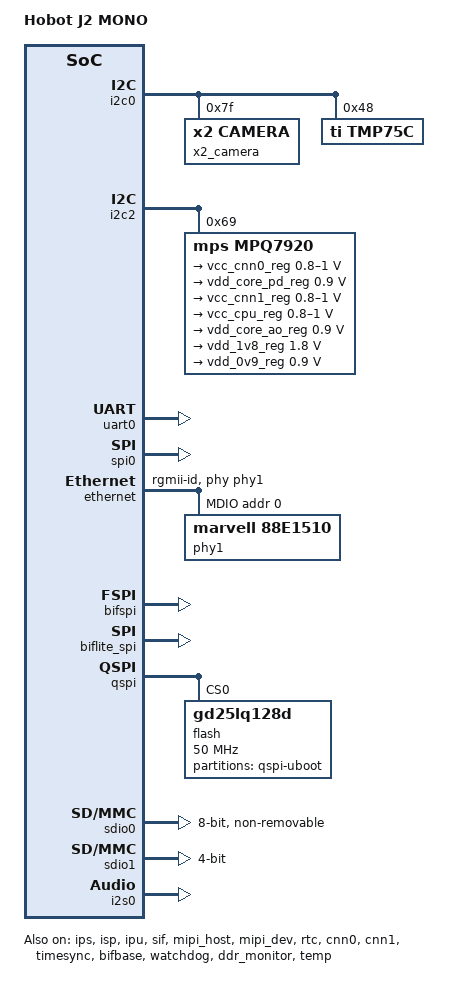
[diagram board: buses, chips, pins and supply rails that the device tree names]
/*
 * dts file for Hobot X2 FPGA
 *
 * (C) Copyright 2018, Horizon, Inc.
 *
 *
 * This program is free software; you can redistribute it and/or
 * modify it under the terms of the GNU General Public License as
 * published by the Free Software Foundation; either version 2 of
 * the License, or (at your option) any later version.
 */

/dts-v1/;
#include "hobot.dtsi"
#include "hobot-pinctrl.dtsi"
#include "hobot-clk.dtsi"
#include "memory-2g.dtsi"
#include <dt-bindings/gpio/gpio.h>
#include <dt-bindings/phy/phy.h>

/ {
	model = "Hobot J2 MONO";
	compatible = "hobot,x2-fpga";

	aliases {
		serial0 = &uart0;
		serial1 = &uart1;
		serial2 = &uart2;
		serial3 = &uart3;
		i2c0	= &i2c0;
		i2c1	= &i2c1;
		i2c2	= &i2c2;
		i2c3	= &i2c3;
		i2s0	= &i2s0;
		i2s1	= &i2s1;
		pwm0	= &pwm_0;
		pwm1	= &pwm_1;
		pwm2	= &pwm_2;
		bifsd	= &bifsd;
		bifspi	= &bifspi;
		mmc1	= &sdio0;
		mmc2	= &sdio1;
	};

	chosen {
		bootargs = "earlycon loglevel=8 console=ttyS0 clk_ignore_unused";
		stdout-path = "serial0:115200n8";
	};

};

&i2c0 {
	status = "okay";
	#address-cells = <1>;
	#size-cells = <0>;
	x2_camera@0x7f {
	    compatible = "x2,camera";
	    reg = <0x7f>;
	};
	tmp75c@48 {
                compatible = "ti,tmp75c";
		reg = <0x48>;
	};
};

&i2c2 {
	status = "okay";
	#address-cells = <1>;
	#size-cells = <0>;
	pinctrl-names = "default";
	pinctrl-0 = <&i2c2_func>;

		mpq7920@69 {
		compatible = "mps,mpq7920";
		reg = <0x69>;
		regulators {
			vcc_cnn0_reg: DCDC1 {
				regulator-name = "VCC_CNN0";
				regulator-min-microvolt = <800000>;
				regulator-max-microvolt = <1000000>;
				regulator-always-on;
				regulator-boot-on;
			};

			vdd_core_pd_reg: DCDC2 {
				regulator-name = "VDD_CORE_PD";
				regulator-min-microvolt = <900000>;
				regulator-max-microvolt = <900000>;
				regulator-always-on;
				regulator-boot-on;
			};

			vcc_cnn1_reg: DCDC3 {
				regulator-name = "VCC_CNN1";
				regulator-min-microvolt = <800000>;
				regulator-max-microvolt = <1000000>;
				regulator-always-on;
				regulator-boot-on;
			};

			vcc_cpu_reg: DCDC4 {
				regulator-name = "VCC_CPU";
				regulator-min-microvolt = <800000>;
				regulator-max-microvolt = <1000000>;
				regulator-always-on;
				regulator-boot-on;
			};

			vdd_core_ao_reg: LDO3 {
				regulator-name = "VDD_CORE_AO";
				regulator-min-microvolt = <900000>;
				regulator-max-microvolt = <900000>;
				regulator-always-on;
				regulator-boot-on;
			};

			vdd_1v8_reg: LDO4 {
				regulator-name = "VDD_1V8";
				regulator-min-microvolt = <1800000>;
				regulator-max-microvolt = <1800000>;
				regulator-always-on;
			};

			vdd_0v9_reg: LDO5 {
				regulator-name = "VDD_0V9";
				regulator-min-microvolt = <900000>;
				regulator-max-microvolt = <900000>;
				regulator-always-on;
			};
		};
	};




};

&pinctrl {
	status = "okay";
	gpioirq-bank-cfg=<18 0 0 0>;
};

&uart0 {
	status = "okay";
	clocks = <&uart0_mclk>;
	clock-names = "uart_mclk";
};

&ips {
	pinctrl-names = "bt_func", "dvp_func";
	pinctrl-0 = <&btin_func &btout_func>;
	pinctrl-1 = <&dvpin_func &dvpout_func>;
	status = "okay";
};

&isp {
	status = "okay";
};

&ipu {
	status = "okay";
};

&sif {
	status = "okay";
};
&mipi_host {
	status = "okay";
};

&mipi_dev {
	status = "okay";
};

&dma {
	status = "okay";
};

&x2dmatest {
	status = "disabled";
};

&rtc {
	status = "okay";
};

&pwm_0 {
	status = "disabled";
};

&spi0 {
	status = "okay";
};

&ethernet {
	status = "okay";
	clocks = <&eth0_ephy_2nddiv_clk>, <&eth0_prediv_clk>, <&eth0_div_clk>;
	clock-names = "phy_ref_clk", "mac_pre_div_clk", "mac_div_clk";

	pinctrl-names = "default";
	pinctrl-0 = <&eth_func>;

	/* local-mac-address = [ 00 11 22 33 44 55 ]; */
	phy-handle = <&phy1>;
	phy-mode = "rgmii-id";
	mdio {
		#address-cells = <0x1>;
		#size-cells = <0x0>;
		phy1: phy@0 {
			compatible = "marvell,88E1510","ethernet-phy-ieee802.3-c22";
			reg = <0x0>;
		};
	};
};

&cpu0 {
	status = "okay";
	cpu-supply = <&vcc_cpu_reg>;
};
&cpu1 {
	status = "okay";
	cpu-supply = <&vcc_cpu_reg>;
};

&cnn0 {
	status = "okay";
	cnn0-supply = <&vcc_cnn0_reg>;
};

&cnn1 {
	status = "okay";
	cnn1-supply = <&vcc_cnn1_reg>;
};

&iar {
	status = "disabled";
};

&bifspi {
	status = "okay";
};

&bifsd {
	status = "disabled";
	/*cd-gpio = <91>;*/


};
&timesync {
	status = "okay";
	timesync_MCU2J2_irq_pin = <18>;
	timesync_J22MCU_irq_pin = <118>;
};
&bifbase {
	/*x2j2 bifbase: GPIO7[8]: 18, GPIO0[7]: 7*/
	status = "okay";
//	bifbase_irq_pin = <18>;
//	bifbase_tri_pin = <7>;
};
&biflite_spi {
	status = "okay";
	mcu-ap;
	polling-mode;
};
&qspi {
	status = "okay";
	qspi-mode = <1>;
	#address-cells = <1>;
	#size-cells = <0>;
	clocks = <&sys_qspi_aclk>;
	clock-names = "qspi_aclk";

	flash@0 {
		compatible = "gd25lq128d";
		#address-cells = <1>;
		#size-cells = <1>;
		reg = <0x0>;
		spi-tx-bus-width = <4>;
		spi-rx-bus-width = <4>;
		spi-max-frequency = <50000000>;

		partition@qspi-uboot {
			label = "qspi-uboot";
			reg = <0x200000 0x200000>;
		};
	};
};

&sdio0 {
	status = "okay";
	bus-width = <8>;
	cap-mmc-highspeed;
	mmc-hs200-1_8v;
	non-removable;
	disable-wp;
};

&sdio1 {
	status = "okay";
	bus-width = <4>;
	//no-mmc;
	//no-sdio;
	cap-mmc-highspeed;
	cap-sd-highspeed;
	//sd-uhs-sdr12;
	//sd-uhs-sdr25;
	//sd-uhs-sdr50;
	//sd-uhs-sdr104;
	//powerup-gpio = <85>;
	//uhs-180v-gpio = <86>;
	//non-removable;
	mmc-hs200-1_8v;
	broken-cd;
	disable-wp;
};

&watchdog {
	status = "okay";
};

&i2s0 {
	status = "okay";
	clocks = <&i2s0_mclk>, <&i2s0_bclk>,<&i2s0_div_bclk>;
	clock-names = "i2s-mclk", "i2s-bclk", "i2s0_div_bclk";
};


&ddr_monitor {
	status = "okay";
};

&temp {
	clocks = <&temp_sensor_div_clk>;
	clock-names = "tsensor_clk";
	status = "okay";
};

&soc_thermal {
	status = "okay";
};

&arch_timer {
	clock-frequency = <24000000>;
};
